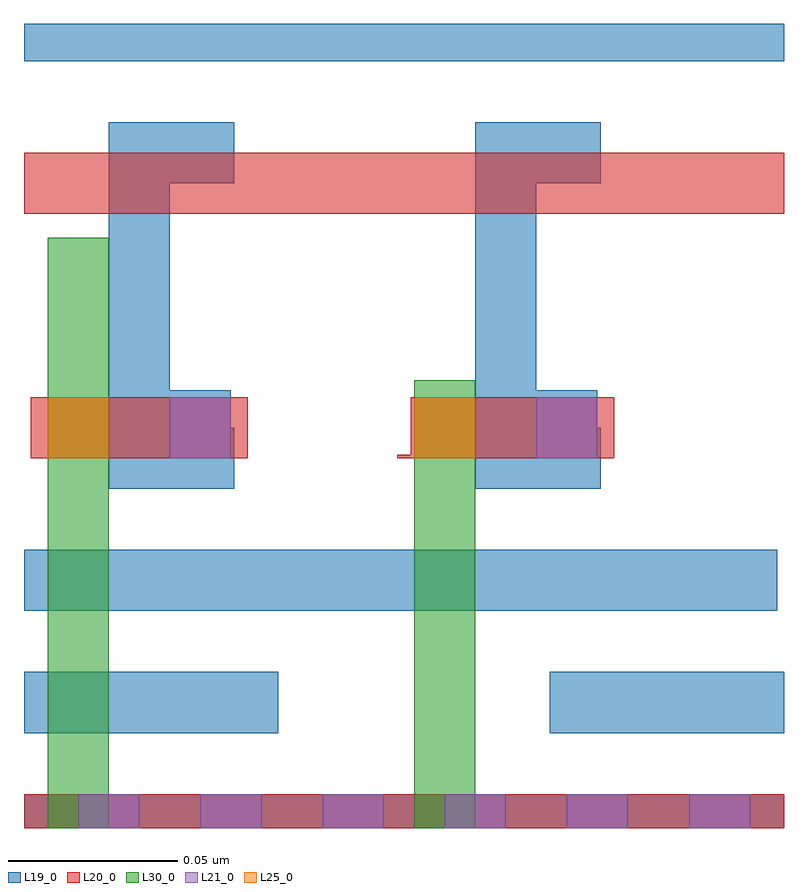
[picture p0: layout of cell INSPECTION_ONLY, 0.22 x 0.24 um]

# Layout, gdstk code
import gdstk
lib = gdstk.Library(unit=1e-6, precision=2.5e-10)
def R(c, l, rs):  # rectangles x0, y0, x1, y1
    for r in rs: c.add(gdstk.rectangle(r[:2], r[2:], *l))
def A(c, l, x, y, w, h, nx, ny, dx, dy):  # array of equal rectangles
    R(c, l, [(x+i*dx, y+j*dy, x+i*dx+w, y+j*dy+h) for i in range(nx) for j in range(ny)])
def P(c, l, *ps):  # polygons
    for p in ps: c.add(gdstk.Polygon(p, *l))
L19_0 = (19, 0)
L20_0 = (20, 0)
L21_0 = (21, 0)
L25_0 = (25, 0)
L30_0 = (30, 0)

inspection_only = lib.new_cell('INSPECTION_ONLY')
R(inspection_only, L19_0, [(5.609,4.319,5.833,4.329), (5.609,4.319,5.833,4.329), (5.609,4.319,5.833,4.329), (5.609,4.319,5.67,4.329), (5.67,4.319,5.724,4.329), (5.724,4.319,5.833,4.329), (5.609,4.347,5.684,4.365), (5.764,4.347,5.833,4.365), (5.609,4.383,5.831,4.401), (5.652,4.426,5.67,4.448), (5.76,4.426,5.778,4.448), (5.609,4.545,5.833,4.556)])
P(inspection_only, L19_0, [(5.742,4.419),(5.742,4.527),(5.779,4.527),(5.779,4.509),(5.76,4.509),(5.76,4.437),(5.779,4.437),(5.779,4.419)],
  [(5.634,4.419),(5.634,4.527),(5.671,4.527),(5.671,4.509),(5.652,4.509),(5.652,4.437),(5.671,4.437),(5.671,4.419)])
R(inspection_only, L20_0, [(5.609,4.319,5.833,4.329), (5.611,4.428,5.675,4.446), (5.609,4.5,5.833,4.518)])
P(inspection_only, L20_0, [(5.719,4.428),(5.719,4.429),(5.723,4.429),(5.723,4.446),(5.783,4.446),(5.783,4.428)])
A(inspection_only, L21_0, 5.625, 4.319, 0.018, 0.01, 6, 1, 0.036, 0)
R(inspection_only, L21_0, [(5.652,4.428,5.67,4.446), (5.76,4.428,5.778,4.446)])
R(inspection_only, L25_0, [(5.616,4.428,5.634,4.446), (5.724,4.428,5.742,4.446)])
R(inspection_only, L30_0, [(5.616,4.319,5.634,4.493), (5.724,4.319,5.742,4.451)])

lib.write_gds('INSPECTION_ONLY.gds')
